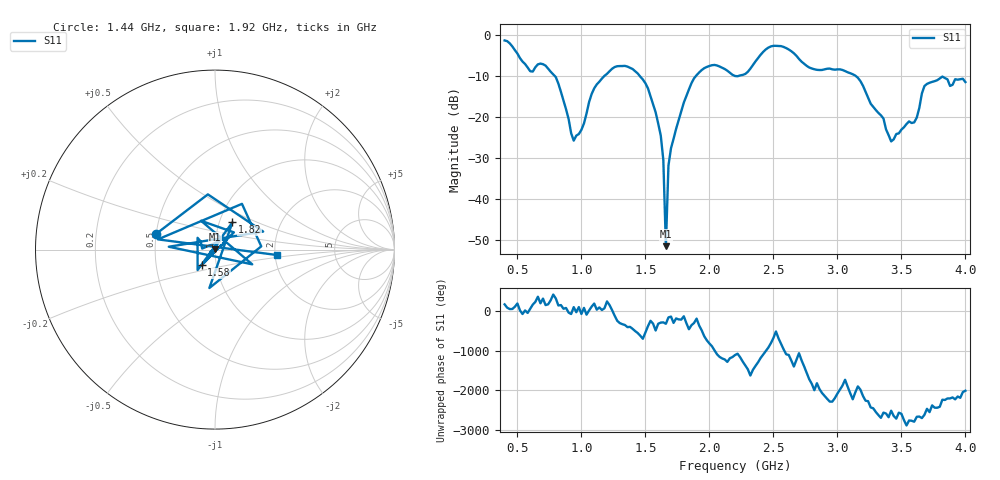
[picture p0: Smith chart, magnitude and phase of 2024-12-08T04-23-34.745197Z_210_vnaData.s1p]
!Created with skrf (http://scikit-rf.org).
# Hz S RI R 50.0
!freq ReS11 ImS11
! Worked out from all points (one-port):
!   181 points, 400 MHz to 4 GHz, reference 50 ohm
!   lowest |S11| = -51.5 dB at 1.66 GHz (marker M1), VSWR 1.01, Z = 50.2 + j0.171 ohm
!   |S11| at or under -10 dB: 791.5 MHz to 1.179 GHz (387.7 MHz wide, 39.3 % of centre); 1.456 GHz to 1.895 GHz (439.3 MHz wide, 26.2 % of centre); 3.143 GHz to end of sweep (the widest 3 of 4)
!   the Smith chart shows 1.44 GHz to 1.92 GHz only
!   S11 on the Smith chart (normalised r, x): 1.44 GHz: 0.50, +0.10; 1.58 GHz: 0.85, -0.15; 1.82 GHz: 1.15, +0.36; 1.92 GHz: 2.06, -0.14
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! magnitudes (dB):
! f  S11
! 400 MHz  -1.3
! 600 MHz  -8.8
! 720 MHz  -7.5
! 860 MHz  -16.0
! 940 MHz  -25.8
! 1.02 GHz  -21.6
! 1.1 GHz  -13.0
! 1.3 GHz  -7.6
! 1.44 GHz  -9.4
! 1.58 GHz  -18.9
! 1.64 GHz  -30.5
! 1.66 GHz  -51.5
! 1.68 GHz  -31.9
! 1.76 GHz  -20.8
! 1.82 GHz  -14.9
! 1.92 GHz  -9.1
! 2.04 GHz  -7.3
! 2.2 GHz  -10.0
! 2.48 GHz  -2.8
! 2.66 GHz  -4.5
! 2.8 GHz  -8.2
! 3.1 GHz  -9.3
! 3.36 GHz  -20.4
! 3.42 GHz  -26.0
! 3.56 GHz  -21.1
! 3.62 GHz  -20.2
! 3.7 GHz  -11.9
! 4 GHz  -11.5
